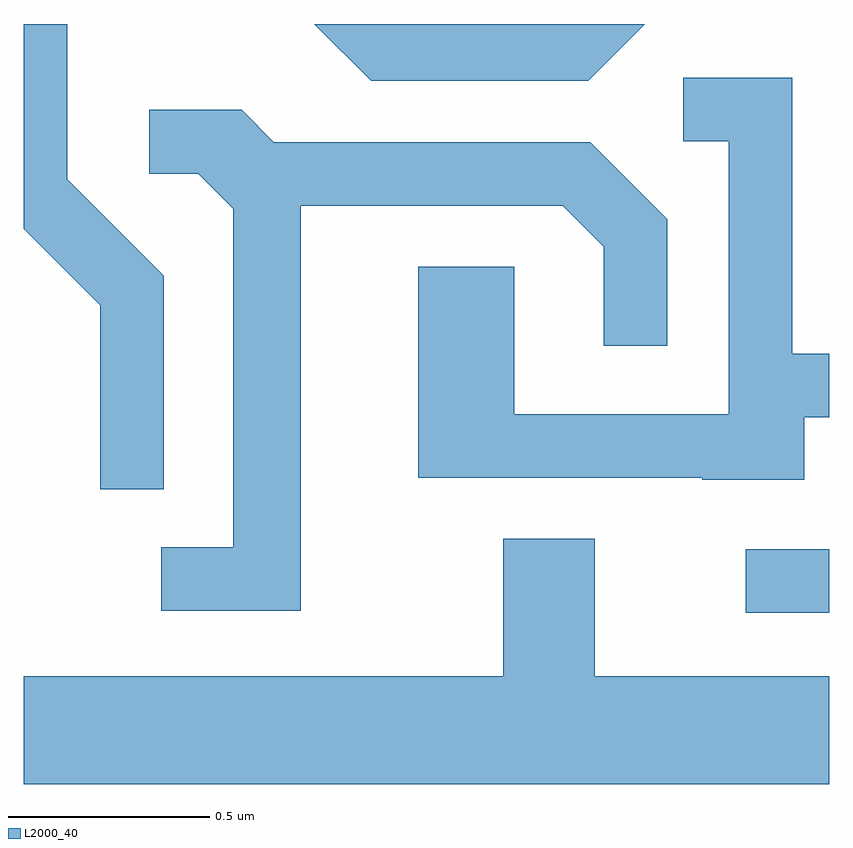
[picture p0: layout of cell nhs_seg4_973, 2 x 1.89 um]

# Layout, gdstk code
import gdstk
lib = gdstk.Library(unit=1e-6, precision=1e-09)
def R(c, l, rs):  # rectangles x0, y0, x1, y1
    for r in rs: c.add(gdstk.rectangle(r[:2], r[2:], *l))
def P(c, l, *ps):  # polygons
    for p in ps: c.add(gdstk.Polygon(p, *l))
L2000_40 = (2000, 40)

nhs_seg4_973 = lib.new_cell('nhs_seg4_973')
R(nhs_seg4_973, L2000_40, [(194.403,1268.521,194.611,1268.679)])
P(nhs_seg4_973, L2000_40, [(192.959,1269.357),(192.719,1269.597),(192.719,1269.982),(192.611,1269.982),(192.611,1269.474),(192.801,1269.284),(192.801,1268.828),(192.959,1268.828)],
  [(194.153,1269.982),(193.333,1269.982),(193.474,1269.841),(194.012,1269.841)],
  [(194.549,1269.006),(194.611,1269.006),(194.611,1269.164),(194.519,1269.164),(194.519,1269.849),(194.248,1269.849),(194.248,1269.691),(194.361,1269.691),(194.361,1269.014),(193.829,1269.014),(193.829,1269.379),(193.591,1269.379),(193.591,1268.856),(194.295,1268.856),(194.295,1268.851),(194.549,1268.851)],
  [(193.299,1269.531),(193.949,1269.531),(194.051,1269.429),(194.051,1269.183),(194.209,1269.183),(194.209,1269.497),(194.017,1269.689),(193.232,1269.689),(193.152,1269.769),(192.923,1269.769),(192.923,1269.611),(193.044,1269.611),(193.131,1269.524),(193.131,1268.684),(192.953,1268.684),(192.953,1268.526),(193.299,1268.526)],
  [(194.611,1268.364),(194.029,1268.364),(194.029,1268.704),(193.801,1268.704),(193.801,1268.364),(192.611,1268.364),(192.611,1268.096),(194.611,1268.096)])

lib.write_gds('nhs_seg4_973.gds')
